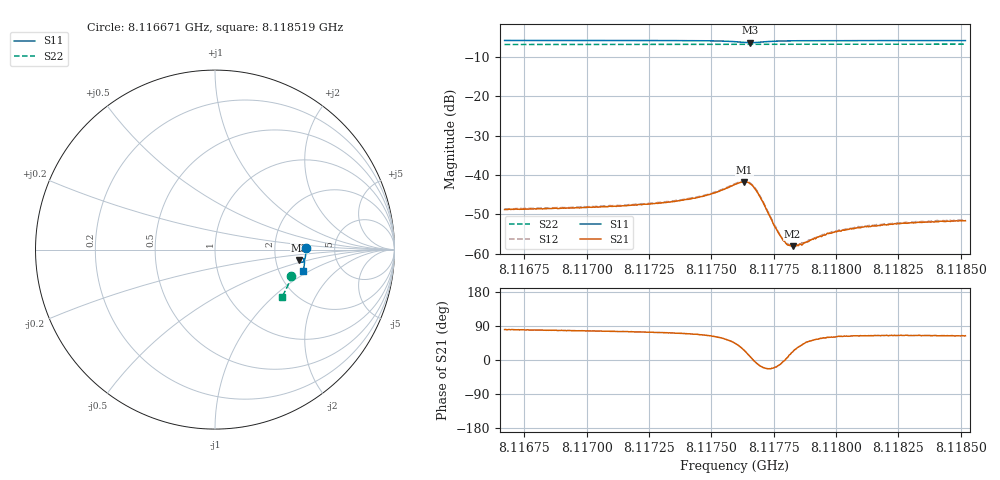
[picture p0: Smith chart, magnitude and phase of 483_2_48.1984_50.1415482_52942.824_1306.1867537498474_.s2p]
#  HZ  S  RI  R  50.00
! Rohde & Schwarz Vector Network Analyzer
! Rohde-Schwarz,ZNB20-2Port,1311601062101988,3.16
! Created: UTC 3/20/2024, 11:57:44 AM
! freq[Hz]  re:S11  im:S11  re:S21  im:S21  re:S12  im:S12  re:S22  im:S22
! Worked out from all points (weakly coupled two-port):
!   401 points, 8.116671 GHz to 8.118519 GHz, reference 50 ohm
!   highest |S21| = -41.73 dB at 8.117632 GHz (marker M1); lowest = -58.0 dB at 8.117826 GHz (marker M2)
!   lowest |S11| = -6.5 dB at 8.117655 GHz (marker M3), VSWR 2.80, Z = 136 - j20.4 ohm
!   |S11| at or under -10 dB: nowhere
!   |S22| runs from -6.9 to -6.8 dB; largest |S21 - S12| = 0.00022
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8.116671e9  0.5068 0.00896  0.000616 0.0036  0.00067 0.00365  0.426 -0.1464
8.1169805e9  0.5062 -0.015  0.000843 0.00377  0.000934 0.00386  0.4193 -0.167
8.1172901e9  0.5037 -0.0403  0.00132 0.00421  0.00139 0.00427  0.4114 -0.1874
8.1173825e9  0.5021 -0.0486  0.00162 0.00451  0.00169 0.00458  0.409 -0.1933
8.1174795e9  0.4988 -0.0584  0.00232 0.00501  0.00238 0.00507  0.4061 -0.1995
8.1175257e9  0.4954 -0.0639  0.00302 0.00535  0.00315 0.00542  0.4047 -0.2027
8.117595e9  0.4838 -0.0707  0.00545 0.0053  0.00556 0.00539  0.4022 -0.207
8.117632e9  0.4733 -0.0666  0.00741 0.0035  0.00757 0.00357  0.4007 -0.2089
8.1176551e9  0.4701 -0.058  0.00767 0.00126  0.00787 0.00125  0.4001 -0.2099
8.1176735e9  0.473 -0.051  0.00679 -0.000444  0.00695 -0.000475  0.3997 -0.2107
8.1176874e9  0.4772 -0.0478  0.00574 -0.00119  0.00585 -0.00128  0.3993 -0.2115
8.1177567e9  0.4939 -0.0526  0.00204 -0.000696  0.00211 -0.000754  0.3982 -0.216
8.1177798e9  0.4961 -0.056  0.00162 -0.000273  0.00165 -0.000281  0.3976 -0.2175
8.1177937e9  0.4969 -0.0581  0.00144 -4.37e-05  0.00146 -2.92e-05  0.3972 -0.2184
8.1178075e9  0.4975 -0.06  0.00128 0.000175  0.00132 0.000207  0.3967 -0.2193
8.117826e9  0.498 -0.0623  0.00117 0.000454  0.00118 0.000469  0.3961 -0.2206
8.1178583e9  0.4986 -0.0663  0.00105 0.000814  0.00104 0.00081  0.3952 -0.2226
8.1179045e9  0.4988 -0.0713  0.000955 0.00121  0.000971 0.0012  0.3936 -0.2256
8.1179923e9  0.4983 -0.0797  0.000923 0.00164  0.000991 0.00169  0.391 -0.2312
8.1181124e9  0.4969 -0.0901  0.000967 0.00198  0.000983 0.00199  0.3867 -0.2385
8.1182141e9  0.4956 -0.0983  0.00101 0.00215  0.00101 0.00219  0.3832 -0.2448
8.118519e9  0.4902 -0.1215  0.00115 0.00237  0.00121 0.00242  0.3719 -0.263
